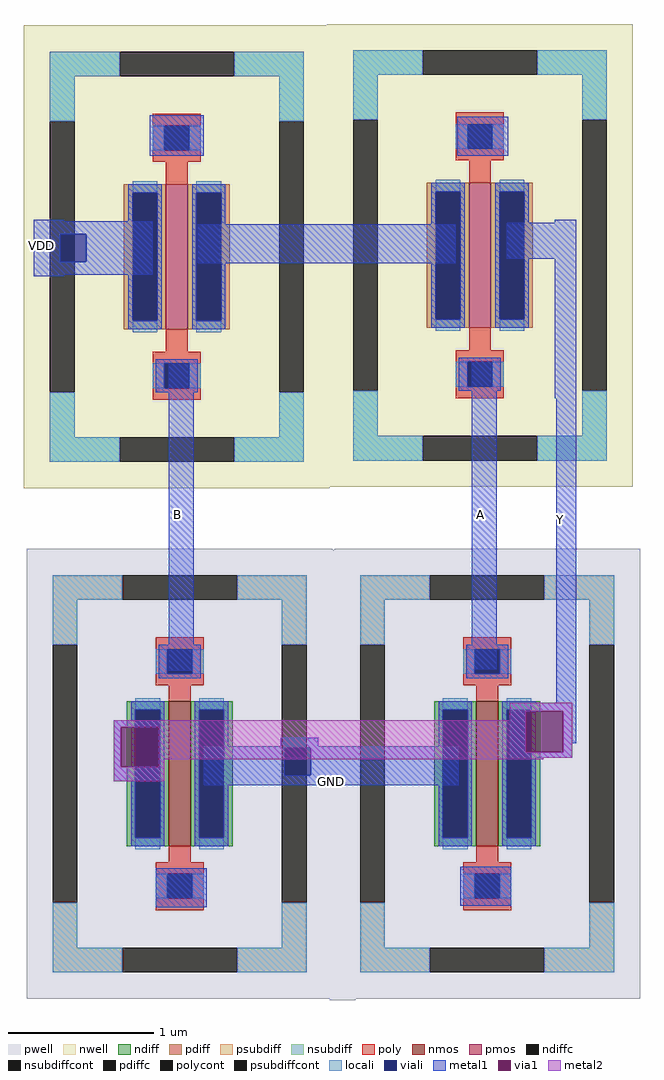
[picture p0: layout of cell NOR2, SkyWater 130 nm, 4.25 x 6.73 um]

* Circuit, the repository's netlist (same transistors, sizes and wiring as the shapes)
* SPICE3 file created from NOR2.ext - technology: sky130A

X0 m1_n358_1496# A VDD VDD sky130_fd_pr__pfet_01v8 ad=0.29 pd=2.58 as=0.29 ps=2.58 w=1 l=0.15
X1 Y B m1_n358_1496# VDD sky130_fd_pr__pfet_01v8 ad=0.29 pd=2.58 as=0.58 ps=5.16 w=1 l=0.15
X2 GND A Y GND sky130_fd_pr__nfet_01v8 ad=0.29 pd=2.58 as=0.29 ps=2.58 w=1 l=0.15
X3 Y B GND GND sky130_fd_pr__nfet_01v8 ad=0.58 pd=5.16 as=0.58 ps=5.16 w=1 l=0.15
*C0 VDD 0 2.217925f **FLOATING

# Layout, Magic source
magic
tech sky130A
magscale 1 2
<< nwell >>
rect 134 1552 164 1556
rect 68 1502 164 1552
rect 134 1310 164 1502
<< pwell >>
rect -244 788 -192 842
rect -176 480 -140 1100
<< viali >>
rect -548 1498 -512 1536
rect -238 790 -202 828
<< metal1 >>
rect -424 1644 -350 1700
rect 0 1644 70 1698
rect -584 1554 -542 1556
rect -584 1536 -420 1554
rect 134 1552 164 1556
rect -584 1498 -548 1536
rect -512 1498 -420 1536
rect -584 1480 -420 1498
rect -358 1496 -2 1550
rect 68 1502 164 1552
rect -584 1478 -542 1480
rect -398 934 -364 1358
rect 20 936 54 1360
rect 134 1310 164 1502
rect 136 890 164 1310
rect 72 878 164 890
rect -474 856 -404 866
rect -474 802 -464 856
rect -412 802 -404 856
rect -244 830 -192 842
rect -474 782 -404 802
rect -350 828 2 830
rect -350 790 -238 828
rect -202 790 2 828
rect 72 822 94 878
rect 146 834 164 878
rect 146 822 158 834
rect 72 814 158 822
rect -350 776 2 790
rect -416 608 -346 662
rect 4 610 74 664
<< via1 >>
rect -464 802 -412 856
rect 94 822 146 878
<< metal2 >>
rect 72 878 158 890
rect 72 866 94 878
rect -474 856 94 866
rect -474 802 -464 856
rect -412 822 94 856
rect 146 822 158 878
rect -412 814 158 822
rect -412 812 118 814
rect -412 802 -404 812
rect -474 782 -404 802
use sky130_fd_pr__pfet_01v8_XGS3BL  XM7
transform 1 0 -387 0 1 1505
box -211 -319 211 319
use sky130_fd_pr__nfet_01v8_648S5X  XM8
transform 1 0 -383 0 1 792
box -211 -310 211 310
use sky130_fd_pr__pfet_01v8_XGS3BL  XM9
transform 1 0 31 0 1 1507
box -211 -319 211 319
use sky130_fd_pr__nfet_01v8_648S5X  XM10
transform 1 0 41 0 1 792
box -211 -310 211 310
<< labels >>
rlabel metal1 -574 1520 -574 1520 1 VDD
rlabel metal1 142 1142 142 1142 1 Y
rlabel metal1 -174 782 -174 782 1 GND
rlabel metal1 -386 1150 -386 1150 1 B
rlabel metal1 32 1150 32 1150 1 A
<< end >>

# cell sky130_fd_pr__pfet_01v8_XGS3BL: kit device sky130_fd_pr__pfet_01v8, w 1.0 l 0.15 m 1 nf 1 diffcov 100 polycov 100 guard 1 glc 1 grc 1 gtc 1 gbc 1 tbcov 100 rlcov 100 topc 1 botc 1 poverlap 0 doverlap 1 lmin 0.15 wmin 0.42 compatible {sky130_fd_pr__pfet_01v8 sky130_fd_pr__pfet_01v8_lvt sky130_fd_pr__pfet_01v8_hvt sky130_fd_pr__pfet_g5v0d10v5} full_metal 1 viasrc 100 viadrn 100 viagate 100 viagb 0 viagr 0 viagl 0 viagt 0

# cell sky130_fd_pr__nfet_01v8_648S5X: kit device sky130_fd_pr__nfet_01v8, w 1.0 l 0.15 m 1 nf 1 diffcov 100 polycov 100 guard 1 glc 1 grc 1 gtc 1 gbc 1 tbcov 100 rlcov 100 topc 1 botc 1 poverlap 0 doverlap 1 lmin 0.15 wmin 0.42 compatible {sky130_fd_pr__nfet_01v8 sky130_fd_pr__nfet_01v8_lvt sky130_fd_bs_flash__special_sonosfet_star sky130_fd_pr__nfet_g5v0d10v5 sky130_fd_pr__nfet_05v0_nvt sky130_fd_pr__nfet_03v3_nvt} full_metal 1 viasrc 100 viadrn 100 viagate 100 viagb 0 viagr 0 viagl 0 viagt 0
